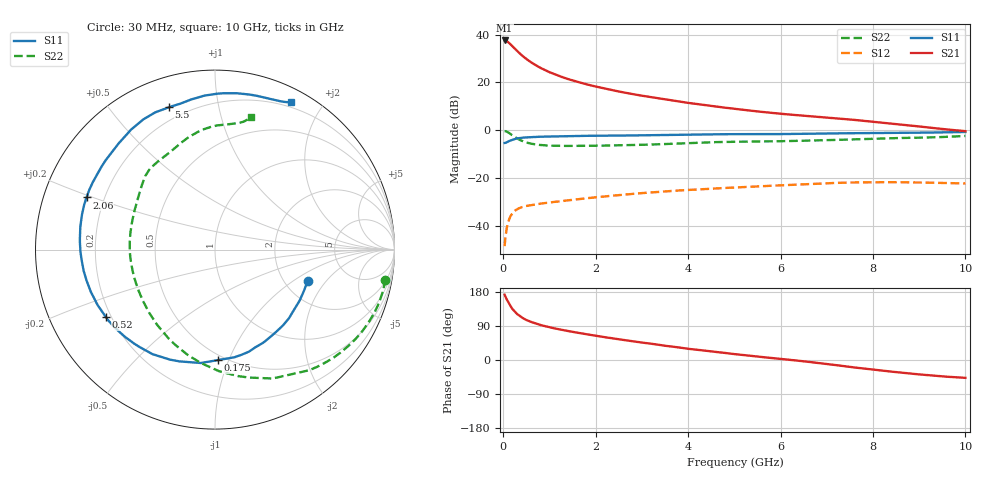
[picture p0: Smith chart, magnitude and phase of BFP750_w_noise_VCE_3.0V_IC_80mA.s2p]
! Infineon Technologies  Discrete & RF Semiconductors
! BFP750
! VCE =  3.0 V,  IC =  80 mA
! Common Emitter S-Parameters:  Jan 2016
# GHz  S  MA  R  50
!  f  S11  S21  S12  S22
! GHz  MAG  ANG  MAG  ANG  MAG  ANG  MAG  ANG
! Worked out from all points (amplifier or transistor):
!   229 points, 30 MHz to 10 GHz, reference 50 ohm
!   highest |S21| = 37.6 dB at 30 MHz (marker M1)
!   |S21| within 3 dB of that: start of sweep to 229.1 MHz
!   unconditionally stable (mu >= 1): 3.495 GHz to end of sweep
!   at 280 MHz: K = 0.20, MSG = 33.4 dB, |S12| = -33.2 dB
!   at 1.78 GHz: K = 0.77, MSG = 23.9 dB, |S12| = -28.5 dB
!   at 10 GHz: K = 1.04, MAG = 9.7 dB, |S12| = -22.2 dB
!   lowest NFmin = 1.35 dB at 450 MHz
!   S11 on the Smith chart (normalised r, x): 30 MHz: 2.64, -1.33; 175 MHz: 0.46, -0.91; 520 MHz: 0.18, -0.27; 2.06 GHz: 0.13, +0.19; 5.5 GHz: 0.14, +0.72; 10 GHz: 0.15, +1.64
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0.03  0.5448 -18.9  75.54 172.3  0.0038 84.4  0.9644 -10.0
0.05  0.5505 -30.9  75.06 166.4  0.006 77.4  0.9609 -17.9
0.07  0.5622 -42.8  73.4 161.3  0.0084 73.4  0.9469 -25.4
0.1  0.5769 -58.3  70.21 154.2  0.0113 67.7  0.9163 -36.0
0.15  0.6097 -79.9  63.87 143.5  0.0156 58.7  0.8523 -52.1
0.175  0.6161 -88.7  60.29 139.3  0.0171 55.1  0.8136 -58.7
0.2  0.6366 -97.1  57.08 134.5  0.0186 52.0  0.7868 -65.9
0.24  0.6533 -107.5  52.2 129.0  0.0204 47.4  0.7373 -75.2
0.3  0.6785 -120.8  45.65 121.4  0.0225 42.3  0.6788 -87.9
0.4  0.6987 -136.0  37.13 112.3  0.0248 36.6  0.6059 -104.6
0.52  0.7148 -148.4  30.05 104.7  0.0265 32.8  0.5513 -119.5
0.7  0.7306 -161.2  23 96.2  0.0284 29.9  0.5082 -136.2
1  0.7445 -174.8  16.42 86.4  0.031 28.4  0.4806 -154.5
1.3  0.7552 175.7  12.73 78.8  0.0335 28.1  0.4736 -166.8
1.7  0.7659 165.7  9.739 70.1  0.0371 27.9  0.4745 -178.7
2.06  0.7723 157.9  7.995 62.9  0.0404 27.1  0.4778 172.6
3.4  0.7951 133.9  4.59 39.5  0.0522 21.5  0.5128 147.4
5.1  0.8334 112.4  2.749 14.4  0.0647 11.4  0.5798 127.4
5.5  0.8339 108.0  2.484 8.9  0.0674 8.8  0.5851 122.8
6.8  0.8538 96.0  1.923 -7.6  0.077 -0.7  0.6167 109.4
8.4  0.8851 77.3  1.383 -30.7  0.0825 -16.3  0.6855 91.5
10  0.9236 62.6  0.962 -47.1  0.0777 -28.2  0.7635 74.6
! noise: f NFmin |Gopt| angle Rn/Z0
0.45  1.35  0.27  -168  0.4
0.9  1.37  0.35  -163  0.18
1.5  1.39  0.46  -155  0.09
1.9  1.39  0.48  -149  0.09
2.4  1.39  0.48  -142  0.11
3.5  1.63  0.48  -126  0.15
